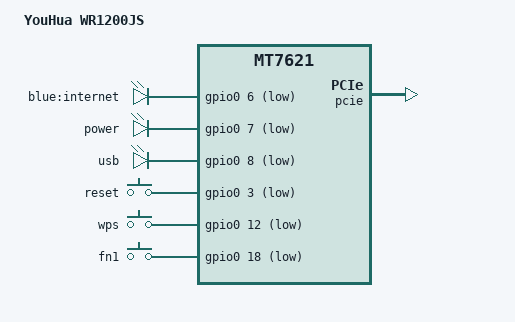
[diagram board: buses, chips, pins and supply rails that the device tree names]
/dts-v1/;

#include "mt7621.dtsi"
#include <dt-bindings/gpio/gpio.h>
#include <dt-bindings/input/input.h>
#include "mt7621-spi-16m-wr1200js-layout.dtsi"
#include "mt7621-raeth-gmac2.dtsi"
#include "mt7621-pinctrl-default-gpio.dtsi"

/ {
	compatible = "mediatek,mt7621-soc";
	model = "YouHua WR1200JS";

	chosen {
		bootargs = "console=ttyS0,57600";
	};

	leds {
		compatible = "gpio-leds";

		internet {
			label = "blue:internet";
			gpios = <&gpio0 6 GPIO_ACTIVE_LOW>;
		};

		led_wps: wps {
			label = "power";
			gpios = <&gpio0 7 GPIO_ACTIVE_LOW>;
		};

		usb {
			label = "usb";
			gpios = <&gpio0 8 GPIO_ACTIVE_LOW>;
		};
	};

	gpio-keys-polled {
		compatible = "gpio-keys-polled";
		#address-cells = <1>;
		#size-cells = <0>;
		poll-interval = <20>;

		reset {
			label = "reset";
			gpios = <&gpio0 3 GPIO_ACTIVE_LOW>;
			linux,code = <KEY_RESTART>;
		};

		wps {
			label = "wps";
			gpios = <&gpio0 12 GPIO_ACTIVE_LOW>;
			linux,code = <KEY_WPS_BUTTON>;
		};

		fn1 {
			label = "fn1";
			gpios = <&gpio0 18 GPIO_ACTIVE_LOW>;
			linux,code = <KEY_FN_1>;
		};

	};
};

&pcie {
	status = "okay";
};

